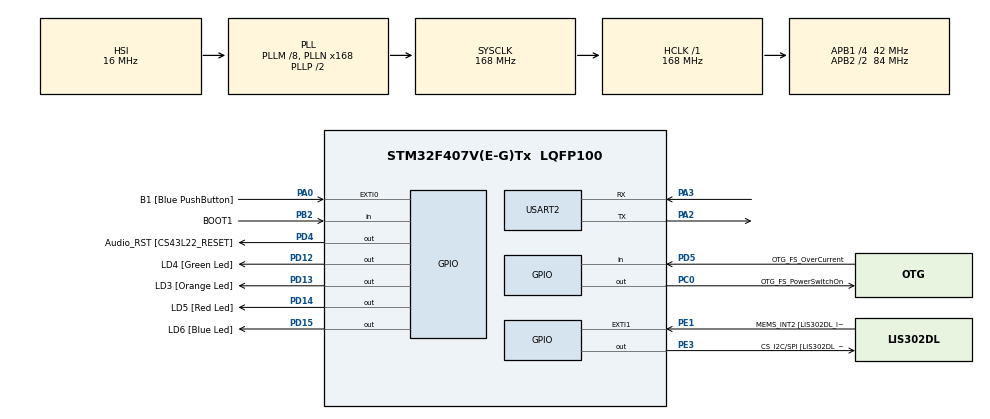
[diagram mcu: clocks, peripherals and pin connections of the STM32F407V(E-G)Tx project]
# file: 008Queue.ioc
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Mcu.Family=STM32F4
Mcu.Name=STM32F407V(E-G)Tx
Mcu.Package=LQFP100
NVIC.PriorityGroup=NVIC_PRIORITYGROUP_4
NVIC.TIM6_DAC_IRQn=true\:0\:0\:false\:false\:true\:false\:true\:true
NVIC.TimeBase=TIM6_DAC_IRQn
NVIC.TimeBaseIP=TIM6
NVIC.USART2_IRQn=true\:6\:0\:true\:false\:true\:true\:true\:true
PA0-WKUP.GPIO_Label=B1 [Blue PushButton]
PA0-WKUP.Signal=GPXTI0
PA10.GPIO_Label=OTG_FS_ID
PA10.GPIO_Mode=GPIO_MODE_AF_PP
PA10.GPIO_PuPd=GPIO_NOPULL
PA10.GPIO_Speed=GPIO_SPEED_FREQ_LOW
PA10.Signal=USB_OTG_FS_ID
PA11.GPIO_Label=OTG_FS_DM
PA11.GPIO_Mode=GPIO_MODE_AF_PP
PA11.GPIO_PuPd=GPIO_NOPULL
PA11.GPIO_Speed=GPIO_SPEED_FREQ_LOW
PA11.Signal=USB_OTG_FS_DM
PA12.GPIO_Label=OTG_FS_DP
PA12.GPIO_Mode=GPIO_MODE_AF_PP
PA12.GPIO_PuPd=GPIO_NOPULL
PA12.GPIO_Speed=GPIO_SPEED_FREQ_LOW
PA12.Signal=USB_OTG_FS_DP
PA13.GPIO_Label=SWDIO
PA13.Signal=SYS_JTMS-SWDIO
PA14.GPIO_Label=SWCLK
PA14.Signal=SYS_JTCK-SWCLK
PA2.Mode=Asynchronous
PA2.Signal=USART2_TX
PA3.Mode=Asynchronous
PA3.Signal=USART2_RX
PA4.GPIO_Label=I2S3_WS [CS43L22_LRCK]
PA4.GPIO_Mode=GPIO_MODE_AF_PP
PA4.GPIO_PuPd=GPIO_NOPULL
PA4.GPIO_Speed=GPIO_SPEED_FREQ_LOW
PA4.Signal=I2S3_WS
PA5.GPIO_Label=SPI1_SCK [LIS302DL_SCL/SPC]
PA5.GPIO_Mode=GPIO_MODE_AF_PP
PA5.GPIO_PuPd=GPIO_NOPULL
PA5.GPIO_Speed=GPIO_SPEED_FREQ_LOW
PA5.Signal=SPI1_SCK
PA6.GPIO_Label=SPI1_MISO [LIS302DL_SDO]
PA6.GPIO_Mode=GPIO_MODE_AF_PP
PA6.GPIO_PuPd=GPIO_NOPULL
PA6.GPIO_Speed=GPIO_SPEED_FREQ_LOW
PA6.Signal=SPI1_MISO
PA7.GPIO_Label=SPI1_MOSI [LIS302DL_SDA/SDI/SDO]
PA7.GPIO_Mode=GPIO_MODE_AF_PP
PA7.GPIO_PuPd=GPIO_NOPULL
PA7.GPIO_Speed=GPIO_SPEED_FREQ_LOW
PA7.Signal=SPI1_MOSI
PA9.GPIO_Label=VBUS_FS
PA9.GPIO_Mode=GPIO_MODE_INPUT
PA9.GPIO_PuPd=GPIO_NOPULL
PA9.Signal=USB_OTG_FS_VBUS
PB10.GPIO_Label=CLK_IN [MP45DT02_CLK]
PB10.GPIO_Mode=GPIO_MODE_AF_PP
PB10.GPIO_PuPd=GPIO_NOPULL
PB10.GPIO_Speed=GPIO_SPEED_FREQ_LOW
PB10.Signal=I2S2_CK
PB2.GPIO_Label=BOOT1
PB2.GPIO_Mode=GPIO_MODE_INPUT
PB2.GPIO_PuPd=GPIO_NOPULL
PB2.Signal=GPIO_Input
PB3.GPIO_Label=SWO
PB3.Signal=SYS_JTDO-SWO
PB6.GPIO_Label=Audio_SCL [CS43L22_SCL]
PB6.GPIO_Mode=GPIO_MODE_AF_OD
PB6.GPIO_PuPd=GPIO_NOPULL
PB6.GPIO_Speed=GPIO_SPEED_FREQ_LOW
PB6.Signal=I2C1_SCL
PB9.GPIO_Label=Audio_SDA [CS43L22_SDA]
PB9.GPIO_Mode=GPIO_MODE_AF_OD
PB9.GPIO_PuPd=GPIO_NOPULL
PB9.GPIO_Speed=GPIO_SPEED_FREQ_LOW
PB9.Signal=I2C1_SDA
PC0.GPIO_Label=OTG_FS_PowerSwitchOn
PC0.GPIO_PuPd=GPIO_NOPULL
PC0.GPIO_Speed=GPIO_SPEED_FREQ_LOW
PC0.PinState=GPIO_PIN_SET
PC0.Signal=GPIO_Output
PC10.GPIO_Label=I2S3_SCK [CS43L22_SCLK]
PC10.GPIO_Mode=GPIO_MODE_AF_PP
PC10.GPIO_PuPd=GPIO_NOPULL
PC10.GPIO_Speed=GPIO_SPEED_FREQ_LOW
PC10.Signal=I2S3_CK
PC12.GPIO_Label=I2S3_SD [CS43L22_SDIN]
PC12.GPIO_Mode=GPIO_MODE_AF_PP
PC12.GPIO_PuPd=GPIO_NOPULL
PC12.GPIO_Speed=GPIO_SPEED_FREQ_LOW
PC12.Signal=I2S3_SD
PC14-OSC32_IN.GPIO_Label=PC14-OSC32_IN
PC14-OSC32_IN.Signal=RCC_OSC32_IN
PC15-OSC32_OUT.GPIO_Label=PC15-OSC32_OUT
PC15-OSC32_OUT.Signal=RCC_OSC32_OUT
PC3.GPIO_Label=PDM_OUT [MP45DT02_DOUT]
PC3.GPIO_Mode=GPIO_MODE_AF_PP
PC3.GPIO_PuPd=GPIO_NOPULL
PC3.GPIO_Speed=GPIO_SPEED_FREQ_LOW
PC3.Signal=I2S2_SD
PC7.GPIO_Label=I2S3_MCK [CS43L22_MCLK]
PC7.GPIO_Mode=GPIO_MODE_AF_PP
PC7.GPIO_PuPd=GPIO_NOPULL
PC7.GPIO_Speed=GPIO_SPEED_FREQ_LOW
PC7.Signal=I2S3_MCK
PD12.GPIO_Label=LD4 [Green Led]
PD12.GPIO_PuPd=GPIO_NOPULL
PD12.GPIO_Speed=GPIO_SPEED_FREQ_LOW
PD12.Signal=GPIO_Output
PD13.GPIO_Label=LD3 [Orange Led]
PD13.GPIO_PuPd=GPIO_NOPULL
PD13.GPIO_Speed=GPIO_SPEED_FREQ_LOW
PD13.Signal=GPIO_Output
PD14.GPIO_Label=LD5 [Red Led]
PD14.GPIO_PuPd=GPIO_NOPULL
PD14.GPIO_Speed=GPIO_SPEED_FREQ_LOW
PD14.Signal=GPIO_Output
PD15.GPIO_Label=LD6 [Blue Led]
PD15.GPIO_PuPd=GPIO_NOPULL
PD15.GPIO_Speed=GPIO_SPEED_FREQ_LOW
PD15.Signal=GPIO_Output
PD4.GPIO_Label=Audio_RST [CS43L22_RESET]
PD4.GPIO_PuPd=GPIO_NOPULL
PD4.GPIO_Speed=GPIO_SPEED_FREQ_LOW
PD4.Signal=GPIO_Output
PD5.GPIO_Label=OTG_FS_OverCurrent
PD5.GPIO_Mode=GPIO_MODE_INPUT
PD5.GPIO_PuPd=GPIO_NOPULL
PD5.Signal=GPIO_Input
PE1.GPIO_Label=MEMS_INT2 [LIS302DL_INT2]
PE1.GPIO_ModeDefaultEXTI=GPIO_MODE_EVT_RISING
PE1.GPIO_PuPd=GPIO_NOPULL
PE1.Signal=GPXTI1
PE3.GPIO_Label=CS_I2C/SPI [LIS302DL_CS_I2C/SPI]
PE3.GPIO_PuPd=GPIO_NOPULL
PE3.GPIO_Speed=GPIO_SPEED_FREQ_LOW
PE3.Signal=GPIO_Output
PH0-OSC_IN.GPIO_Label=PH0-OSC_IN
PH0-OSC_IN.Signal=RCC_OSC_IN
PH1-OSC_OUT.GPIO_Label=PH1-OSC_OUT
PH1-OSC_OUT.Signal=RCC_OSC_OUT
ProjectManager.HeapSize=0x200
ProjectManager.StackSize=0x400
ProjectManager.TargetToolchain=STM32CubeIDE
RCC.48MHZClocksFreq_Value=48000000
RCC.AHBFreq_Value=168000000
RCC.APB1CLKDivider=RCC_HCLK_DIV4
RCC.APB1Freq_Value=42000000
RCC.APB1TimFreq_Value=84000000
RCC.APB2CLKDivider=RCC_HCLK_DIV2
RCC.APB2Freq_Value=84000000
RCC.APB2TimFreq_Value=168000000
RCC.CortexFreq_Value=168000000
RCC.HCLKFreq_Value=168000000
RCC.HSE_VALUE=8000000
RCC.HSI_VALUE=16000000
RCC.LSE_VALUE=32768
RCC.PLLM=8
RCC.PLLN=168
RCC.PLLQ=7
RCC.SYSCLKFreq_VALUE=168000000
RCC.SYSCLKSource=RCC_SYSCLKSOURCE_PLLCLK
RCC.VCOOutputFreq_Value=336000000
RTC.HourFormat=RTC_HOURFORMAT_12
USART2.VirtualMode=VM_ASYNC
VP_RTC_VS_RTC_Activate.Mode=RTC_Enabled
VP_SYS_VS_tim6.Mode=TIM6
board=STM32F407G-DISC1

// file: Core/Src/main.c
/* USER CODE BEGIN Header */
/**
  ******************************************************************************
  * @file           : main.c
  * @brief          : Main program body
  ******************************************************************************
  * @attention
  *
  * Copyright (c) 2025 STMicroelectronics.
  * All rights reserved.
  *
  * This software is licensed under terms that can be found in the LICENSE file
  * in the root directory of this software component.
  * If no LICENSE file comes with this software, it is provided AS-IS.
  *
  ******************************************************************************
  */
/* USER CODE END Header */
#include "main.h"

/* USER CODE BEGIN Includes */
#include<stdio.h>
/* USER CODE END Includes */

RTC_HandleTypeDef hrtc;

UART_HandleTypeDef huart2;

/* USER CODE BEGIN PV */
#define DWT_CTRL (*(volatile uint32_t*)0xE0001000)

xTaskHandle menu_task_handle;
xTaskHandle led_task_handle;
xTaskHandle rtc_task_handle;
xTaskHandle print_task_handle;
xTaskHandle command_handling_task_handle;

QueueHandle_t input_data_queue_handle;
QueueHandle_t print_queue_handle;

volatile uint8_t user_data;
state_t curr_state = sMainMenu;

TimerHandle_t handle_led_timer[4];
/* USER CODE END PV */

void SystemClock_Config(void);
static void MX_GPIO_Init(void);
static void MX_RTC_Init(void);
static void MX_USART2_UART_Init(void);
/* USER CODE BEGIN PFP */
void led_effect_callback(TimerHandle_t xTimer);
/* USER CODE END PFP */

int main(void)
{
  /* USER CODE BEGIN 1 */
	BaseType_t status;
  /* USER CODE END 1 */

  /* MCU Configuration--------------------------------------------------------*/

  /* Reset of all peripherals, Initializes the Flash interface and the Systick. */
  HAL_Init();

  /* Configure the system clock */
  SystemClock_Config();

  /* Initialize all configured peripherals */
  MX_GPIO_Init();
  MX_RTC_Init();
  MX_USART2_UART_Init();
  /* USER CODE BEGIN 2 */
  DWT_CTRL |= (1 << 0);

  status = xTaskCreate(menu_task, "MENU", 250, NULL, 2, &menu_task_handle);
	configASSERT(status == pdPASS);

	status = xTaskCreate(led_task, "LED", 250, NULL, 2, &led_task_handle);
	configASSERT(status == pdPASS);

	status = xTaskCreate(rtc_task, "RTC", 250, NULL, 2, &rtc_task_handle);
	configASSERT(status == pdPASS);

	status = xTaskCreate(print_task, "PRINT", 250, NULL, 2, &print_task_handle);
	configASSERT(status == pdPASS);

	status = xTaskCreate(command_handling_task, "COMMAND", 250, NULL, 2, &command_handling_task_handle);
	configASSERT(status == pdPASS);

	input_data_queue_handle = xQueueCreate(10, sizeof(char));
	configASSERT(input_data_queue_handle != NULL);
	print_queue_handle = xQueueCreate(10, sizeof(size_t));
	configASSERT(print_queue_handle != NULL);

	// Create software timer for led effect
	for(int i = 0; i < 4; i++)
	{
		handle_led_timer[i] = xTimerCreate("led_timer", pdMS_TO_TICKS(500), pdTRUE, (void*)(i+1), led_effect_callback);
	}

	// UART Handle
	HAL_UART_Receive_IT(&huart2, (uint8_t*)&user_data, 1);

  vTaskStartScheduler();
  /* USER CODE END 2 */

  /* Infinite loop */
  while (1)
  {

  }
}

void SystemClock_Config(void)
{
  RCC_OscInitTypeDef RCC_OscInitStruct = {0};
  RCC_ClkInitTypeDef RCC_ClkInitStruct = {0};

  /** Configure the main internal regulator output voltage
  */
  __HAL_RCC_PWR_CLK_ENABLE();
  __HAL_PWR_VOLTAGESCALING_CONFIG(PWR_REGULATOR_VOLTAGE_SCALE1);

  /** Initializes the RCC Oscillators according to the specified parameters
  * in the RCC_OscInitTypeDef structure.
  */
  RCC_OscInitStruct.OscillatorType = RCC_OSCILLATORTYPE_HSI|RCC_OSCILLATORTYPE_LSI;
  RCC_OscInitStruct.HSIState = RCC_HSI_ON;
  RCC_OscInitStruct.HSICalibrationValue = RCC_HSICALIBRATION_DEFAULT;
  RCC_OscInitStruct.LSIState = RCC_LSI_ON;
  RCC_OscInitStruct.PLL.PLLState = RCC_PLL_ON;
  RCC_OscInitStruct.PLL.PLLSource = RCC_PLLSOURCE_HSI;
  RCC_OscInitStruct.PLL.PLLM = 8;
  RCC_OscInitStruct.PLL.PLLN = 168;
  RCC_OscInitStruct.PLL.PLLP = RCC_PLLP_DIV2;
  RCC_OscInitStruct.PLL.PLLQ = 7;
  if (HAL_RCC_OscConfig(&RCC_OscInitStruct) != HAL_OK)
  {
    Error_Handler();
  }

  /** Initializes the CPU, AHB and APB buses clocks
  */
  RCC_ClkInitStruct.ClockType = RCC_CLOCKTYPE_HCLK|RCC_CLOCKTYPE_SYSCLK
                              |RCC_CLOCKTYPE_PCLK1|RCC_CLOCKTYPE_PCLK2;
  RCC_ClkInitStruct.SYSCLKSource = RCC_SYSCLKSOURCE_PLLCLK;
  RCC_ClkInitStruct.AHBCLKDivider = RCC_SYSCLK_DIV1;
  RCC_ClkInitStruct.APB1CLKDivider = RCC_HCLK_DIV4;
  RCC_ClkInitStruct.APB2CLKDivider = RCC_HCLK_DIV2;

  if (HAL_RCC_ClockConfig(&RCC_ClkInitStruct, FLASH_LATENCY_5) != HAL_OK)
  {
    Error_Handler();
  }
}

static void MX_RTC_Init(void)
{

  /** Initialize RTC Only
  */
  hrtc.Instance = RTC;
  hrtc.Init.HourFormat = RTC_HOURFORMAT_12;
  hrtc.Init.AsynchPrediv = 127;
  hrtc.Init.SynchPrediv = 255;
  hrtc.Init.OutPut = RTC_OUTPUT_DISABLE;
  hrtc.Init.OutPutPolarity = RTC_OUTPUT_POLARITY_HIGH;
  hrtc.Init.OutPutType = RTC_OUTPUT_TYPE_OPENDRAIN;
  if (HAL_RTC_Init(&hrtc) != HAL_OK)
  {
    Error_Handler();
  }

}

static void MX_USART2_UART_Init(void)
{

  huart2.Instance = USART2;
  huart2.Init.BaudRate = 115200;
  huart2.Init.WordLength = UART_WORDLENGTH_8B;
  huart2.Init.StopBits = UART_STOPBITS_1;
  huart2.Init.Parity = UART_PARITY_NONE;
  huart2.Init.Mode = UART_MODE_TX_RX;
  huart2.Init.HwFlowCtl = UART_HWCONTROL_NONE;
  huart2.Init.OverSampling = UART_OVERSAMPLING_16;
  if (HAL_UART_Init(&huart2) != HAL_OK)
  {
    Error_Handler();
  }

}

static void MX_GPIO_Init(void)
{
  GPIO_InitTypeDef GPIO_InitStruct = {0};

  /* GPIO Ports Clock Enable */
  __HAL_RCC_GPIOE_CLK_ENABLE();
  __HAL_RCC_GPIOC_CLK_ENABLE();
  __HAL_RCC_GPIOH_CLK_ENABLE();
  __HAL_RCC_GPIOA_CLK_ENABLE();
  __HAL_RCC_GPIOB_CLK_ENABLE();
  __HAL_RCC_GPIOD_CLK_ENABLE();

  /*Configure GPIO pin Output Level */
  HAL_GPIO_WritePin(CS_I2C_SPI_GPIO_Port, CS_I2C_SPI_Pin, GPIO_PIN_RESET);

  /*Configure GPIO pin Output Level */
  HAL_GPIO_WritePin(OTG_FS_PowerSwitchOn_GPIO_Port, OTG_FS_PowerSwitchOn_Pin, GPIO_PIN_SET);

  /*Configure GPIO pin Output Level */
  HAL_GPIO_WritePin(GPIOD, LD4_Pin|LD3_Pin|LD5_Pin|LD6_Pin
                          |Audio_RST_Pin, GPIO_PIN_RESET);

  /*Configure GPIO pin : CS_I2C_SPI_Pin */
  GPIO_InitStruct.Pin = CS_I2C_SPI_Pin;
  GPIO_InitStruct.Mode = GPIO_MODE_OUTPUT_PP;
  GPIO_InitStruct.Pull = GPIO_NOPULL;
  GPIO_InitStruct.Speed = GPIO_SPEED_FREQ_LOW;
  HAL_GPIO_Init(CS_I2C_SPI_GPIO_Port, &GPIO_InitStruct);

  /*Configure GPIO pin : OTG_FS_PowerSwitchOn_Pin */
  GPIO_InitStruct.Pin = OTG_FS_PowerSwitchOn_Pin;
  GPIO_InitStruct.Mode = GPIO_MODE_OUTPUT_PP;
  GPIO_InitStruct.Pull = GPIO_NOPULL;
  GPIO_InitStruct.Speed = GPIO_SPEED_FREQ_LOW;
  HAL_GPIO_Init(OTG_FS_PowerSwitchOn_GPIO_Port, &GPIO_InitStruct);

  /*Configure GPIO pin : PDM_OUT_Pin */
  GPIO_InitStruct.Pin = PDM_OUT_Pin;
  GPIO_InitStruct.Mode = GPIO_MODE_AF_PP;
  GPIO_InitStruct.Pull = GPIO_NOPULL;
  GPIO_InitStruct.Speed = GPIO_SPEED_FREQ_LOW;
  GPIO_InitStruct.Alternate = GPIO_AF5_SPI2;
  HAL_GPIO_Init(PDM_OUT_GPIO_Port, &GPIO_InitStruct);

  /*Configure GPIO pin : B1_Pin */
  GPIO_InitStruct.Pin = B1_Pin;
  GPIO_InitStruct.Mode = GPIO_MODE_IT_RISING;
  GPIO_InitStruct.Pull = GPIO_NOPULL;
  HAL_GPIO_Init(B1_GPIO_Port, &GPIO_InitStruct);

  /*Configure GPIO pin : I2S3_WS_Pin */
  GPIO_InitStruct.Pin = I2S3_WS_Pin;
  GPIO_InitStruct.Mode = GPIO_MODE_AF_PP;
  GPIO_InitStruct.Pull = GPIO_NOPULL;
  GPIO_InitStruct.Speed = GPIO_SPEED_FREQ_LOW;
  GPIO_InitStruct.Alternate = GPIO_AF6_SPI3;
  HAL_GPIO_Init(I2S3_WS_GPIO_Port, &GPIO_InitStruct);

  /*Configure GPIO pins : SPI1_SCK_Pin SPI1_MISO_Pin SPI1_MOSI_Pin */
  GPIO_InitStruct.Pin = SPI1_SCK_Pin|SPI1_MISO_Pin|SPI1_MOSI_Pin;
  GPIO_InitStruct.Mode = GPIO_MODE_AF_PP;
  GPIO_InitStruct.Pull = GPIO_NOPULL;
  GPIO_InitStruct.Speed = GPIO_SPEED_FREQ_LOW;
  GPIO_InitStruct.Alternate = GPIO_AF5_SPI1;
  HAL_GPIO_Init(GPIOA, &GPIO_InitStruct);

  /*Configure GPIO pin : BOOT1_Pin */
  GPIO_InitStruct.Pin = BOOT1_Pin;
  GPIO_InitStruct.Mode = GPIO_MODE_INPUT;
  GPIO_InitStruct.Pull = GPIO_NOPULL;
  HAL_GPIO_Init(BOOT1_GPIO_Port, &GPIO_InitStruct);

  /*Configure GPIO pin : CLK_IN_Pin */
  GPIO_InitStruct.Pin = CLK_IN_Pin;
  GPIO_InitStruct.Mode = GPIO_MODE_AF_PP;
  GPIO_InitStruct.Pull = GPIO_NOPULL;
  GPIO_InitStruct.Speed = GPIO_SPEED_FREQ_LOW;
  GPIO_InitStruct.Alternate = GPIO_AF5_SPI2;
  HAL_GPIO_Init(CLK_IN_GPIO_Port, &GPIO_InitStruct);

  /*Configure GPIO pins : LD4_Pin LD3_Pin LD5_Pin LD6_Pin
                           Audio_RST_Pin */
  GPIO_InitStruct.Pin = LD4_Pin|LD3_Pin|LD5_Pin|LD6_Pin
                          |Audio_RST_Pin;
  GPIO_InitStruct.Mode = GPIO_MODE_OUTPUT_PP;
  GPIO_InitStruct.Pull = GPIO_NOPULL;
  GPIO_InitStruct.Speed = GPIO_SPEED_FREQ_LOW;
  HAL_GPIO_Init(GPIOD, &GPIO_InitStruct);

  /*Configure GPIO pins : I2S3_MCK_Pin I2S3_SCK_Pin I2S3_SD_Pin */
  GPIO_InitStruct.Pin = I2S3_MCK_Pin|I2S3_SCK_Pin|I2S3_SD_Pin;
  GPIO_InitStruct.Mode = GPIO_MODE_AF_PP;
  GPIO_InitStruct.Pull = GPIO_NOPULL;
  GPIO_InitStruct.Speed = GPIO_SPEED_FREQ_LOW;
  GPIO_InitStruct.Alternate = GPIO_AF6_SPI3;
  HAL_GPIO_Init(GPIOC, &GPIO_InitStruct);

  /*Configure GPIO pin : VBUS_FS_Pin */
  GPIO_InitStruct.Pin = VBUS_FS_Pin;
  GPIO_InitStruct.Mode = GPIO_MODE_INPUT;
  GPIO_InitStruct.Pull = GPIO_NOPULL;
  HAL_GPIO_Init(VBUS_FS_GPIO_Port, &GPIO_InitStruct);

  /*Configure GPIO pins : OTG_FS_ID_Pin OTG_FS_DM_Pin OTG_FS_DP_Pin */
  GPIO_InitStruct.Pin = OTG_FS_ID_Pin|OTG_FS_DM_Pin|OTG_FS_DP_Pin;
  GPIO_InitStruct.Mode = GPIO_MODE_AF_PP;
  GPIO_InitStruct.Pull = GPIO_NOPULL;
  GPIO_InitStruct.Speed = GPIO_SPEED_FREQ_LOW;
  GPIO_InitStruct.Alternate = GPIO_AF10_OTG_FS;
  HAL_GPIO_Init(GPIOA, &GPIO_InitStruct);

  /*Configure GPIO pin : OTG_FS_OverCurrent_Pin */
  GPIO_InitStruct.Pin = OTG_FS_OverCurrent_Pin;
  GPIO_InitStruct.Mode = GPIO_MODE_INPUT;
  GPIO_InitStruct.Pull = GPIO_NOPULL;
  HAL_GPIO_Init(OTG_FS_OverCurrent_GPIO_Port, &GPIO_InitStruct);

  /*Configure GPIO pins : Audio_SCL_Pin Audio_SDA_Pin */
  GPIO_InitStruct.Pin = Audio_SCL_Pin|Audio_SDA_Pin;
  GPIO_InitStruct.Mode = GPIO_MODE_AF_OD;
  GPIO_InitStruct.Pull = GPIO_NOPULL;
  GPIO_InitStruct.Speed = GPIO_SPEED_FREQ_LOW;
  GPIO_InitStruct.Alternate = GPIO_AF4_I2C1;
  HAL_GPIO_Init(GPIOB, &GPIO_InitStruct);

  /*Configure GPIO pin : MEMS_INT2_Pin */
  GPIO_InitStruct.Pin = MEMS_INT2_Pin;
  GPIO_InitStruct.Mode = GPIO_MODE_EVT_RISING;
  GPIO_InitStruct.Pull = GPIO_NOPULL;
  HAL_GPIO_Init(MEMS_INT2_GPIO_Port, &GPIO_InitStruct);

}

/* USER CODE BEGIN 4 */
void led_effect_callback(TimerHandle_t xTimer)
{
	int id;
	id = (uint32_t) pvTimerGetTimerID(xTimer);

	switch(id)
	{
		case 1:
			LED_effect1();
			break;
		case 2:
			LED_effect2();
			break;
		case 3:
			LED_effect3();
			break;
		case 4:
			LED_effect4();
	}
}

void HAL_UART_RxCpltCallback(UART_HandleTypeDef *huart)
{
	if(xQueueIsQueueFullFromISR(input_data_queue_handle) == pdFALSE) // check if the queue is full
	{
		// if Queue is not full -> enqueue the data
		xQueueSendFromISR(input_data_queue_handle, (void*)&user_data, NULL);
	}
	else
	{
		// Queue is full
		if(user_data == '\n') // Check if the inserted data is ENTER (\n)
		{
			uint8_t dummy;
			// if the data is \n -> make sure the last byte of the queue is '\n'
			xQueueReceiveFromISR(input_data_queue_handle, (void*)&dummy, NULL);
			xQueueSendFromISR(input_data_queue_handle, (void*)&user_data, NULL);
		}
	}
	// Send notification to command handling task if user data is \n
	if(user_data == '\n')
	{
		xTaskNotifyFromISR(command_handling_task_handle, 0, eNoAction, NULL);
	}

	// Enable UART data byte reception again in IT mode
	HAL_UART_Receive_IT(&huart2, (uint8_t*)&user_data, 1);
}

/* USER CODE END 4 */

void HAL_TIM_PeriodElapsedCallback(TIM_HandleTypeDef *htim)
{
  if (htim->Instance == TIM6) {
    HAL_IncTick();
  }
}

void Error_Handler(void)
{
  __disable_irq();
  while (1)
  {
  }
}
